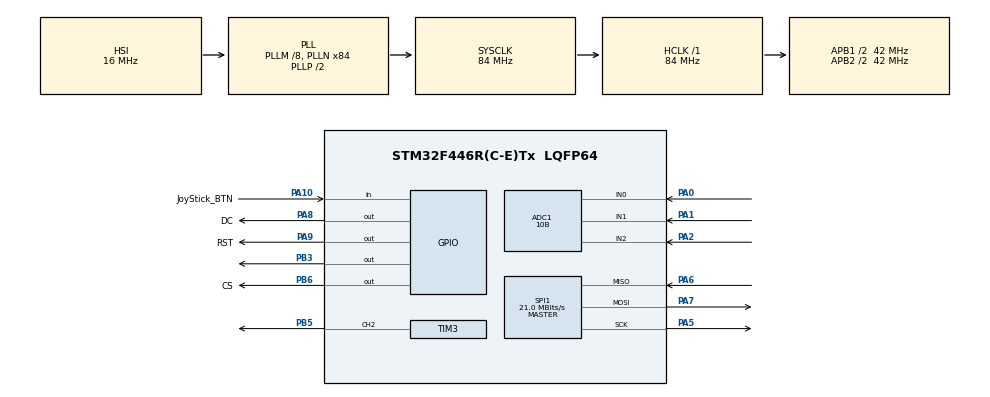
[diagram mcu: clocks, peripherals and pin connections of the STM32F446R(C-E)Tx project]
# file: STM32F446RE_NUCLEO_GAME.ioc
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ADC1.Channel-0\#ChannelRegularConversion=ADC_CHANNEL_0
ADC1.Channel-1\#ChannelRegularConversion=ADC_CHANNEL_1
ADC1.Channel-3\#ChannelRegularConversion=ADC_CHANNEL_TEMPSENSOR
ADC1.ContinuousConvMode=DISABLE
ADC1.NbrOfConversion=3
ADC1.NbrOfConversionFlag=1
ADC1.Rank-0\#ChannelRegularConversion=1
ADC1.Rank-1\#ChannelRegularConversion=2
ADC1.Rank-3\#ChannelRegularConversion=3
ADC1.Resolution=ADC_RESOLUTION_10B
ADC1.SamplingTime-0\#ChannelRegularConversion=ADC_SAMPLETIME_15CYCLES
ADC1.SamplingTime-1\#ChannelRegularConversion=ADC_SAMPLETIME_15CYCLES
ADC1.SamplingTime-3\#ChannelRegularConversion=ADC_SAMPLETIME_15CYCLES
ADC1.master=1
Dma.ADC1.0.Direction=DMA_PERIPH_TO_MEMORY
Dma.ADC1.0.FIFOMode=DMA_FIFOMODE_DISABLE
Dma.ADC1.0.Instance=DMA2_Stream0
Dma.ADC1.0.MemDataAlignment=DMA_MDATAALIGN_HALFWORD
Dma.ADC1.0.MemInc=DMA_MINC_ENABLE
Dma.ADC1.0.Mode=DMA_NORMAL
Dma.ADC1.0.PeriphDataAlignment=DMA_PDATAALIGN_HALFWORD
Dma.ADC1.0.PeriphInc=DMA_PINC_DISABLE
Dma.ADC1.0.Priority=DMA_PRIORITY_LOW
Dma.Request0=ADC1
Mcu.Family=STM32F4
Mcu.Name=STM32F446R(C-E)Tx
Mcu.Package=LQFP64
NVIC.ADC_IRQn=true\:0\:0\:false\:false\:true\:true\:true\:true
NVIC.DMA2_Stream0_IRQn=true\:0\:0\:false\:false\:true\:false\:true\:true
NVIC.PriorityGroup=NVIC_PRIORITYGROUP_0
PA0-WKUP.Signal=ADCx_IN0
PA1.Signal=ADCx_IN1
PA10.GPIO_Label=JoyStick_BTN
PA10.GPIO_PuPd=GPIO_PULLUP
PA10.Signal=GPIO_Input
PA13.GPIO_Label=TMS
PA13.Mode=Serial_Wire
PA13.Signal=SYS_JTMS-SWDIO
PA14.GPIO_Label=TCK
PA14.Mode=Serial_Wire
PA14.Signal=SYS_JTCK-SWCLK
PA2.Signal=ADCx_IN2
PA5.Mode=Full_Duplex_Master
PA5.Signal=SPI1_SCK
PA6.Mode=Full_Duplex_Master
PA6.Signal=SPI1_MISO
PA7.Mode=Full_Duplex_Master
PA7.Signal=SPI1_MOSI
PA8.GPIO_Label=DC
PA8.Signal=GPIO_Output
PA9.GPIO_Label=RST
PA9.Signal=GPIO_Output
PB3.Signal=GPIO_Output
PB5.Signal=S_TIM3_CH2
PB6.GPIO_Label=CS
PB6.Signal=GPIO_Output
PC14-OSC32_IN.Mode=LSE-External-Oscillator
PC14-OSC32_IN.Signal=RCC_OSC32_IN
PC15-OSC32_OUT.Mode=LSE-External-Oscillator
PC15-OSC32_OUT.Signal=RCC_OSC32_OUT
PH0-OSC_IN.Mode=HSE-External-Oscillator
PH0-OSC_IN.Signal=RCC_OSC_IN
PH1-OSC_OUT.Mode=HSE-External-Oscillator
PH1-OSC_OUT.Signal=RCC_OSC_OUT
ProjectManager.HeapSize=0x200
ProjectManager.StackSize=0x400
ProjectManager.TargetToolchain=STM32CubeIDE
RCC.48MHZClocksFreq_Value=84000000
RCC.AHBFreq_Value=84000000
RCC.APB1CLKDivider=RCC_HCLK_DIV2
RCC.APB1Freq_Value=42000000
RCC.APB1TimFreq_Value=84000000
RCC.APB2CLKDivider=RCC_HCLK_DIV2
RCC.APB2Freq_Value=42000000
RCC.APB2TimFreq_Value=84000000
RCC.CortexFreq_Value=84000000
RCC.FLatency-AdvancedSettings=FLASH_LATENCY_2
RCC.HCLKFreq_Value=84000000
RCC.HSE_VALUE=8000000
RCC.HSI_VALUE=16000000
RCC.PLLM=8
RCC.PLLN=84
RCC.SYSCLKFreq_VALUE=84000000
RCC.SYSCLKSource=RCC_SYSCLKSOURCE_PLLCLK
RCC.USBFreq_Value=84000000
RCC.VCOOutputFreq_Value=168000000
SH.ADCx_IN0.0=ADC1_IN0,IN0
SH.ADCx_IN1.0=ADC1_IN1,IN1
SH.ADCx_IN2.0=ADC1_IN2,IN2
SH.S_TIM3_CH2.0=TIM3_CH2,PWM Generation2 CH2
SPI1.CalculateBaudRate=21.0 MBits/s
SPI1.Direction=SPI_DIRECTION_2LINES
SPI1.Mode=SPI_MODE_MASTER
SPI1.VirtualType=VM_MASTER
TIM3.Channel-PWM\ Generation2\ CH2=TIM_CHANNEL_2
VP_ADC1_TempSens_Input.Mode=IN-TempSens
VP_ADC1_Vref_Input.Mode=IN-Vrefint
board=NUCLEO-F446RE

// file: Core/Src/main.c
/* USER CODE BEGIN Header */
/**
  ******************************************************************************
  * @file           : main.c
  * @brief          : Main program body
  ******************************************************************************
  * @attention
  *
  * Copyright (c) 2024 STMicroelectronics.
  * All rights reserved.
  *
  * This software is licensed under terms that can be found in the LICENSE file
  * in the root directory of this software component.
  * If no LICENSE file comes with this software, it is provided AS-IS.
  *
  ******************************************************************************
  */
/* USER CODE END Header */
#include "main.h"
#include "adc.h"
#include "dma.h"
#include "spi.h"
#include "tim.h"
#include "gpio.h"

/* USER CODE BEGIN Includes */
#include "string.h"

#include "GUI_Paint.h"
#include "fonts.h"
#include "image.h"
#include "LCD_Test.h"
#include "DEV_Config.h"
#include "LCD_2inch4.h"

// All MACROS are here in config.h
#include "config.h"

#include "randomiser.h"
#include "game_field.h"
/* USER CODE END Includes */

/* USER CODE BEGIN PV */
// ======== Controlling ========
uint16_t 					joystickX = 0;
uint16_t 					joystickY = 0;
char 						joystickXStr[16];
char 						joystickYStr[16];

volatile uint16_t			adcResultDMA [3];
const int 					adcChannelCount = sizeof (adcResultDMA) / sizeof(adcResultDMA[0]);
volatile int				adcConversionComplete = 0;

char 						normalisedXStr[16];
char 						normalisedYStr[16];

int 						normalisedX = 0;
int 						normalisedY = 0;

uint8_t eatingFieldCount = 0;

static uint32_t 			lastDirectionChangeTime = 0;
static uint32_t 			lastSnakeMovementTime = 0;
static uint32_t 			lastFoodAppearanceTime = 0;

typedef enum {
	UP,
	DOWN,
	LEFT,
	RIGHT
} SnakeDirection;
SnakeDirection currentSnakeDirection = UP; // Initially UP

uint16_t					snakeLength = 0;

uint32_t 					currentTime = 0; // To compare system ticks

uint8_t						GameOver = 0;
uint16_t					score = 0; // Meals eaten

uint16_t 					tempRawValue = 0;
uint32_t 					randomizedValue; // Last digit of raw Temp * joystickX + joystickY

/* USER CODE END PV */

void SystemClock_Config(void);
/* USER CODE BEGIN PFP */
void drawSnakeEyes(int snakeHeadX, int snakeHeadY);

/* These function prototypes correspond to the functions implemented in the USER CODE 4 section */
void snakeSelfMovement(SnakeSegment *SnakeHead, SnakeSegment **snakePreTail, SnakeSegment **snakeTail, SnakeDirection currentSnakeDirection, uint16_t *score, uint8_t *eatingFieldCount);
void drawSnakeEyes(int snakeHeadX, int snakeHeadY);
int rawDataToNormalised(int raw, int min, int max, int center);
void moveHead(int currentHeadX, int currentHeadY);
/* USER CODE END PFP */

/* USER CODE BEGIN 0 */
void initLCD()
{
	DEV_Module_Init();

	LCD_2IN4_Init();

	Paint_NewImage(LCD_2IN4_WIDTH,LCD_2IN4_HEIGHT, ROTATE_180, WHITE);

	Paint_SetClearFuntion(LCD_2IN4_Clear);
	Paint_SetDisplayFuntion(LCD_2IN4_DrawPaint);
	Paint_Clear(BG);
}

// Waiting till the end of conversion to change flag
void HAL_ADC_ConvCpltCallback(ADC_HandleTypeDef* hadc)
{
	adcConversionComplete = 1;
}

/* USER CODE END 0 */

int main(void)
{

  /* MCU Configuration--------------------------------------------------------*/

  /* Reset of all peripherals, Initializes the Flash interface and the Systick. */
  HAL_Init();

  /* Configure the system clock */
  SystemClock_Config();

  /* Initialize all configured peripherals */
  MX_GPIO_Init();
  MX_DMA_Init();
  MX_SPI1_Init();
  MX_TIM3_Init();
  MX_ADC1_Init();
  /* USER CODE BEGIN 2 */
  initLCD();

  initGameField();

  initSnakeGame();
  SnakeSegment* segment = getSnakeSegment();
  SnakeSegment* snakePreTail = getSnakePreTail();
  SnakeSegment* snakeTail = getSnakeTail();

  /* USER CODE END 2 */

  /* Infinite loop */
  /* USER CODE BEGIN WHILE */
  while (1)
  {
      HAL_ADC_Start_DMA(&hadc1, (uint32_t*)adcResultDMA, adcChannelCount);
      while (adcConversionComplete == 0) {
          // Waiting till the end of ADC conversion
      }
      adcConversionComplete = 0;

      // Convert raw data from thumbstick
      int normalisedX = rawDataToNormalised(adcResultDMA[0], 370, 1023, 918);
      int normalisedY = rawDataToNormalised(adcResultDMA[1], 268, 1023, 755);

      // Thumbstick debug info output on LCD
      //Paint_DrawNum(30, 240, adcResultDMA[0], &Font24, BG, WHITE);
      //Paint_DrawNum(30, 270, adcResultDMA[1], &Font24, BG, WHITE);

      currentTime = HAL_GetTick();

      if ((currentTime - lastSnakeMovementTime) > SNAKE_SPEED  && GameOver != 1000000) {
          //snakeSelfMovement(&segment, &snakePreTail, &snakeTail, currentSnakeDirection, &score, &eatingFieldCount);
          snakeSelfMovement(segment, &snakePreTail, &snakeTail, currentSnakeDirection, &score, &eatingFieldCount);

          lastSnakeMovementTime = currentTime;
      }

      // Snake logic for controlling the movement direction
      if ((currentTime - lastDirectionChangeTime) > CHANGE_DIRECTION_DELAY) {
          moveHead(normalisedX, normalisedY);
          lastDirectionChangeTime = currentTime;
      }

      // Check if enough time has passed since the last food appearance and if there are less than 2 food items on the field.
      // If true, generate a randomized value using ADC inputs, initialize the random number generator with this value,
      // and place a new food item on the game field. Update the timestamp for the last food appearance.
      if ((currentTime - lastFoodAppearanceTime) > EATING_APPEARANCE_PERIOD && eatingFieldCount < 2) {
          randomizedValue = (adcResultDMA[2] % 10 * adcResultDMA[0]) + adcResultDMA[1];
          init_xorshift32(randomizedValue);
          eatRandomizer(&eatingFieldCount);
          lastFoodAppearanceTime = currentTime;
      }

    /* USER CODE END WHILE */

  }
}

void SystemClock_Config(void)
{
  RCC_OscInitTypeDef RCC_OscInitStruct = {0};
  RCC_ClkInitTypeDef RCC_ClkInitStruct = {0};

  /** Configure the main internal regulator output voltage
  */
  __HAL_RCC_PWR_CLK_ENABLE();
  __HAL_PWR_VOLTAGESCALING_CONFIG(PWR_REGULATOR_VOLTAGE_SCALE3);

  /** Initializes the RCC Oscillators according to the specified parameters
  * in the RCC_OscInitTypeDef structure.
  */
  RCC_OscInitStruct.OscillatorType = RCC_OSCILLATORTYPE_HSI;
  RCC_OscInitStruct.HSIState = RCC_HSI_ON;
  RCC_OscInitStruct.HSICalibrationValue = RCC_HSICALIBRATION_DEFAULT;
  RCC_OscInitStruct.PLL.PLLState = RCC_PLL_ON;
  RCC_OscInitStruct.PLL.PLLSource = RCC_PLLSOURCE_HSI;
  RCC_OscInitStruct.PLL.PLLM = 8;
  RCC_OscInitStruct.PLL.PLLN = 84;
  RCC_OscInitStruct.PLL.PLLP = RCC_PLLP_DIV2;
  RCC_OscInitStruct.PLL.PLLQ = 2;
  RCC_OscInitStruct.PLL.PLLR = 2;
  if (HAL_RCC_OscConfig(&RCC_OscInitStruct) != HAL_OK)
  {
    Error_Handler();
  }

  /** Initializes the CPU, AHB and APB buses clocks
  */
  RCC_ClkInitStruct.ClockType = RCC_CLOCKTYPE_HCLK|RCC_CLOCKTYPE_SYSCLK
                              |RCC_CLOCKTYPE_PCLK1|RCC_CLOCKTYPE_PCLK2;
  RCC_ClkInitStruct.SYSCLKSource = RCC_SYSCLKSOURCE_PLLCLK;
  RCC_ClkInitStruct.AHBCLKDivider = RCC_SYSCLK_DIV1;
  RCC_ClkInitStruct.APB1CLKDivider = RCC_HCLK_DIV2;
  RCC_ClkInitStruct.APB2CLKDivider = RCC_HCLK_DIV2;

  if (HAL_RCC_ClockConfig(&RCC_ClkInitStruct, FLASH_LATENCY_2) != HAL_OK)
  {
    Error_Handler();
  }
}

/* USER CODE BEGIN 4 */
// ================= SNAKE SELF MOVEMENT START =================
void snakeSelfMovement(SnakeSegment *SnakeHead, SnakeSegment **snakePreTail, SnakeSegment **snakeTail, SnakeDirection currentSnakeDirection, uint16_t *score, uint8_t *eatingFieldCount) {
	int isEat = 0; // If next tile has EAT

    int nextX = SnakeHead->x;
    int nextY = SnakeHead->y;
    int oldX = SnakeHead->x;
    int oldY = SnakeHead->y;

    int oldTailX = (*snakeTail)->x;
    int oldTailY = (*snakeTail)->y;

	// Move snake head
    if (currentSnakeDirection == UP) {
        nextY -= 1;
    } else if (currentSnakeDirection == DOWN) {
        nextY += 1;
    } else if (currentSnakeDirection == LEFT) {
        nextX -= 1;
    } else if (currentSnakeDirection == RIGHT) {
        nextX += 1;
    }

    // Check if next step isn't out side of game field
    if (nextX < 0 || nextX >= WIDTH || nextY < 0 || nextY >= HEIGHT) {
        Paint_DrawString_EN(45, 150, "GAME OVER", &Font24, BLACK, WHITE);
        char scoreText[50]; // Score output
        sprintf(scoreText, "Score: %d", *score); // Format Score string
        Paint_DrawString_EN(45, 174, scoreText, &Font24, BLACK, WHITE);

        GameOver += 1;
        return;
    }

    // Check if next tale has FOOD
    if (getGridValue(nextX, nextY) == FOOD) {
        isEat = 1;
    }

    SnakeHead->x = nextX;
    SnakeHead->y = nextY;
    setGridValue(nextX, nextY, SNAKE);

    // Draw new head position
    Paint_DrawRectangle(SnakeHead->x * CELL_SIZE, SnakeHead->y * CELL_SIZE, (SnakeHead->x * CELL_SIZE) + CELL_SIZE, (SnakeHead->y * CELL_SIZE) + CELL_SIZE, PLAYER, 1, 1);
    drawSnakeEyes(SnakeHead->x, SnakeHead->y);

    // Move rest of snake segments
    SnakeSegment *currentSegment = SnakeHead->prev;
    while (currentSegment != NULL) {
        int currentX = currentSegment->x;
        int currentY = currentSegment->y;

        currentSegment->x = oldX;
        currentSegment->y = oldY;

        Paint_DrawRectangle(currentSegment->x * CELL_SIZE, currentSegment->y * CELL_SIZE, (currentSegment->x * CELL_SIZE) + CELL_SIZE, (currentSegment->y * CELL_SIZE) + CELL_SIZE, PLAYER, 1, 1);

        // Save coordinates for the next segment
        oldX = currentX;
        oldY = currentY;

        if (currentSegment->prev != NULL && currentSegment->prev->prev == NULL) {
            *snakePreTail = currentSegment;
        }
        currentSegment = currentSegment->prev;
    }

    if(!isEat) {
        // if isEat = false then clean last tail pos
        Paint_DrawRectangle(oldTailX * CELL_SIZE, oldTailY * CELL_SIZE, (oldTailX * CELL_SIZE) + CELL_SIZE, (oldTailY * CELL_SIZE) + CELL_SIZE, BG, 1, 1);

        // clean last tail pos on a grid
        setGridValue(oldTailX, oldTailY, EMPTY);

        *snakeTail = (*snakePreTail)->prev;
    } else {
    	addTaleWhenFood(snakeTail, oldTailX, oldTailY, snakePreTail);

        // if isEat = true -> tale+1
        Paint_DrawRectangle(oldTailX * CELL_SIZE, oldTailY * CELL_SIZE, (oldTailX * CELL_SIZE) + CELL_SIZE, (oldTailY * CELL_SIZE) + CELL_SIZE, PLAYER, 1, 1);
        // clean last tail pos on a grid
        setGridValue(oldTailX, oldTailY, SNAKE);
        (*score)++;

        isEat = 0;
        (*eatingFieldCount)--;
    }
}

void drawSnakeEyes(int snakeHeadX, int snakeHeadY) {
	if(currentSnakeDirection == UP) {
		Paint_DrawRectangle(snakeHeadX * CELL_SIZE + 1, snakeHeadY * CELL_SIZE + 2, (snakeHeadX * CELL_SIZE) + 2, (snakeHeadY * CELL_SIZE) + 4, WHITE, 1, 1);
		Paint_DrawRectangle(snakeHeadX * CELL_SIZE + 8, snakeHeadY * CELL_SIZE + 2, (snakeHeadX * CELL_SIZE) + 9, (snakeHeadY * CELL_SIZE) + 4, WHITE, 1, 1);
	} else if (currentSnakeDirection == LEFT) {
		Paint_DrawRectangle(snakeHeadX * CELL_SIZE + 1, snakeHeadY * CELL_SIZE + 1, (snakeHeadX * CELL_SIZE) + 2, (snakeHeadY * CELL_SIZE) + 3, WHITE, 1, 1);
		Paint_DrawRectangle(snakeHeadX * CELL_SIZE + 1, snakeHeadY * CELL_SIZE + 7, (snakeHeadX * CELL_SIZE) + 2, (snakeHeadY * CELL_SIZE) + 9, WHITE, 1, 1);
	} else if (currentSnakeDirection == DOWN) {
		Paint_DrawRectangle(snakeHeadX * CELL_SIZE + 1, snakeHeadY * CELL_SIZE + 6, (snakeHeadX * CELL_SIZE) + 2, (snakeHeadY * CELL_SIZE) + 8, WHITE, 1, 1);
		Paint_DrawRectangle(snakeHeadX * CELL_SIZE + 8, snakeHeadY * CELL_SIZE + 6, (snakeHeadX * CELL_SIZE) + 9, (snakeHeadY * CELL_SIZE) + 8, WHITE, 1, 1);
	} else if (currentSnakeDirection == RIGHT) {
		Paint_DrawRectangle(snakeHeadX * CELL_SIZE + 8, snakeHeadY * CELL_SIZE + 1, (snakeHeadX * CELL_SIZE) + 9, (snakeHeadY * CELL_SIZE) + 3, WHITE, 1, 1);
		Paint_DrawRectangle(snakeHeadX * CELL_SIZE + 8, snakeHeadY * CELL_SIZE + 7, (snakeHeadX * CELL_SIZE) + 9, (snakeHeadY * CELL_SIZE) + 9, WHITE, 1, 1);
	}
}
// ================= SNAKE SELF MOVEMENT END =================

// ================= CONTROLS START =================
// Convert ADC thumbnail raw data into normal
int rawDataToNormalised(int raw, int min, int max, int center) {
    int range = max - min;
    int normalised = ((raw - center) * 200) / range;
    return normalised;
}

void moveHead(int currentHeadX, int currentHeadY) {
    if (HAL_GetTick() - lastDirectionChangeTime < CHANGE_DIRECTION_DELAY) {
        return;
    }

    SnakeDirection newDirection = currentSnakeDirection;

    // Direction priority
    if (abs(currentHeadX) > abs(currentHeadY)) { // Horizontal priority
        if (currentHeadX > DEAD_ZONE && currentSnakeDirection != LEFT) {
            newDirection = RIGHT;
        } else if (currentHeadX < -DEAD_ZONE && currentSnakeDirection != RIGHT) {
            newDirection = LEFT;
        }
    } else { // Vertical priority
        if (currentHeadY > DEAD_ZONE && currentSnakeDirection != DOWN) {
            newDirection = UP;
        } else if (currentHeadY < -DEAD_ZONE && currentSnakeDirection != UP) {
            newDirection = DOWN;
        }
    }

    if (newDirection != currentSnakeDirection) {
        currentSnakeDirection = newDirection;
        lastDirectionChangeTime = HAL_GetTick();
    }
}
// ================= CONTROLS END =================
/* USER CODE END 4 */

void Error_Handler(void)
{
  __disable_irq();
  while (1)
  {
  }
}
